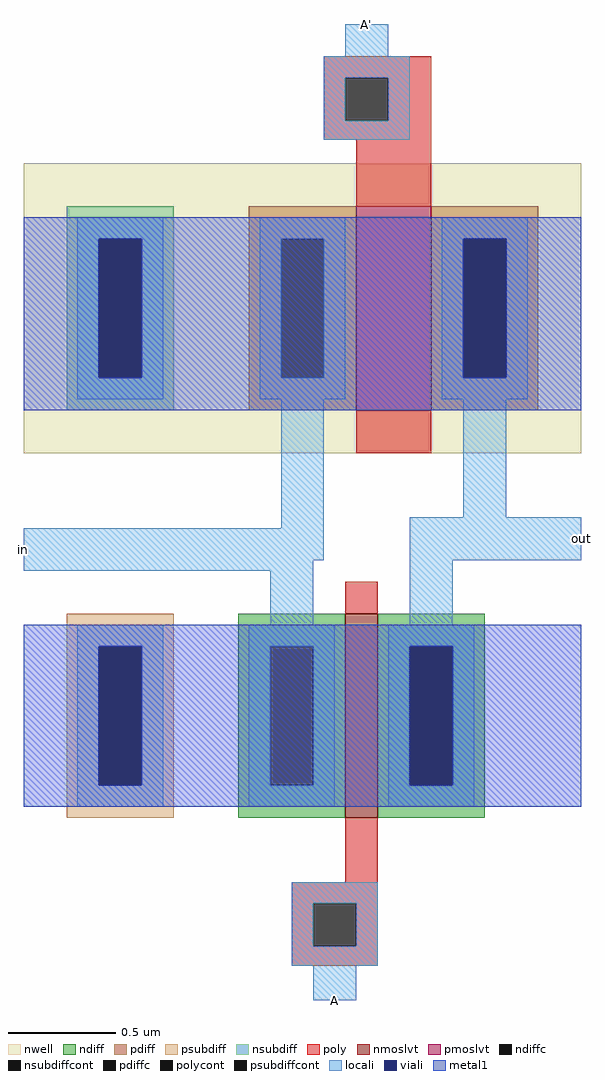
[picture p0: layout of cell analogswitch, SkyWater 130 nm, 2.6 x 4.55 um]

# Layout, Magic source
magic
tech sky130A
<< nwell >>
rect -115 70 145 205
<< pmoslvt >>
rect 40 90 75 185
<< nmoslvt >>
rect 35 -100 50 -5
<< ndiff >>
rect -15 -20 35 -5
rect -15 -85 0 -20
rect 20 -85 35 -20
rect -15 -100 35 -85
rect 50 -20 100 -5
rect 50 -85 65 -20
rect 85 -85 100 -20
rect 50 -100 100 -85
<< pdiff >>
rect -10 170 40 185
rect -10 105 5 170
rect 25 105 40 170
rect -10 90 40 105
rect 75 170 125 185
rect 75 105 90 170
rect 110 105 125 170
rect 75 90 125 105
<< ndiffc >>
rect 0 -85 20 -20
rect 65 -85 85 -20
<< pdiffc >>
rect 5 105 25 170
rect 90 105 110 170
<< psubdiff >>
rect -95 -20 -45 -5
rect -95 -85 -80 -20
rect -60 -85 -45 -20
rect -95 -100 -45 -85
<< nsubdiff >>
rect -95 170 -45 185
rect -95 105 -80 170
rect -60 105 -45 170
rect -95 90 -45 105
<< psubdiffcont >>
rect -80 -85 -60 -20
<< nsubdiffcont >>
rect -80 105 -60 170
<< poly >>
rect 25 245 75 255
rect 25 225 35 245
rect 55 225 75 245
rect 25 216 75 225
rect 40 185 75 216
rect 40 70 75 90
rect 35 -5 50 10
rect 35 -130 50 -100
rect 10 -140 50 -130
rect 10 -160 20 -140
rect 40 -160 50 -140
rect 10 -169 50 -160
<< polycont >>
rect 35 225 55 245
rect 20 -160 40 -140
<< locali >>
rect 35 255 55 270
rect 25 245 65 255
rect 25 225 35 245
rect 55 225 65 245
rect 25 216 65 225
rect -90 170 -50 180
rect -90 105 -80 170
rect -60 105 -50 170
rect -90 95 -50 105
rect -5 170 35 180
rect -5 105 5 170
rect 25 105 35 170
rect -5 95 35 105
rect 80 170 120 180
rect 80 105 90 170
rect 110 105 120 170
rect 80 95 120 105
rect 5 35 25 95
rect 90 40 110 95
rect -115 20 25 35
rect 65 20 145 40
rect -115 15 20 20
rect 0 -10 20 15
rect 65 -10 85 20
rect -90 -20 -50 -10
rect -90 -85 -80 -20
rect -60 -85 -50 -20
rect -90 -95 -50 -85
rect -10 -20 30 -10
rect -10 -85 0 -20
rect 20 -85 30 -20
rect -10 -95 30 -85
rect 55 -20 95 -10
rect 55 -85 65 -20
rect 85 -85 95 -20
rect 55 -95 95 -85
rect 10 -140 50 -130
rect 10 -160 20 -140
rect 40 -160 50 -140
rect 10 -169 50 -160
rect 20 -185 40 -169
<< viali >>
rect -80 105 -60 170
rect 90 105 110 170
rect -80 -85 -60 -20
rect 65 -85 85 -20
<< metal1 >>
rect -115 170 145 180
rect -115 105 -80 170
rect -60 105 90 170
rect 110 105 145 170
rect -115 90 145 105
rect -115 -20 145 -10
rect -115 -85 -80 -20
rect -60 -85 65 -20
rect 85 -85 145 -20
rect -115 -95 145 -85
<< labels >>
rlabel locali 145 30 145 30 3 out
port 1 e
rlabel locali -115 25 -115 25 7 in
port 2 w
rlabel locali 45 270 45 270 1 A'
port 3 n
rlabel locali 30 -185 30 -185 5 A
port 4 s
<< end >>
